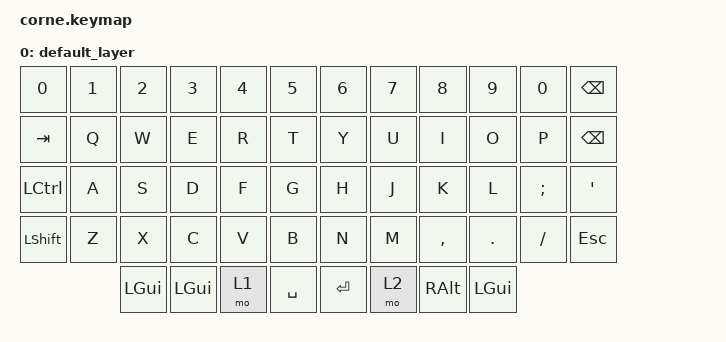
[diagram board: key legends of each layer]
/*
 * Copyright (c) 2020 The ZMK Contributors
 *
 * SPDX-License-Identifier: MIT
 */

#include <behaviors.dtsi>
#include <dt-bindings/zmk/keys.h>
#include <dt-bindings/zmk/bt.h>

/ {
        keymap {
                compatible = "zmk,keymap";

                default_layer {
// -----------------------------------------------------------------------------------------
// |  TAB |  Q  |  W  |  E  |  R  |  T  |   |  Y  |  U   |  I  |  O  |  P  | BSPC |
// | CTRL |  A  |  S  |  D  |  F  |  G  |   |  H  |  J   |  K  |  L  |  ;  |  '   |
// | SHFT |  Z  |  X  |  C  |  V  |  B  |   |  N  |  M   |  ,  |  .  |  /  | ESC  |
//                    | GUI | LWR | SPC |   | ENT | RSE  | ALT |
                        bindings = <
   &kp 0   &kp 1 &kp 2 &kp 3 &kp 4 &kp 5     &kp 6 &kp 7  &kp 8     &kp 9   &kp 0    &kp BSPC
   &kp TAB   &kp Q &kp W &kp E &kp R &kp T   &kp Y &kp U  &kp I     &kp O   &kp P    &kp BSPC
   &kp LCTRL &kp A &kp S &kp D &kp F &kp G   &kp H &kp J  &kp K     &kp L   &kp SEMI &kp SQT
   &kp LSHFT &kp Z &kp X &kp C &kp V &kp B   &kp N &kp M  &kp COMMA &kp DOT &kp FSLH &kp ESC
                &kp LGUI &kp LGUI &mo 1 &kp SPACE   &kp RET &mo 2 &kp RALT &kp LGUI 
                        >;
                };


        };
};
